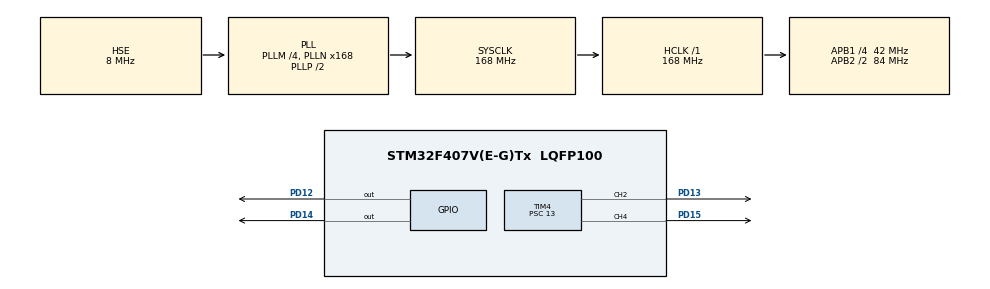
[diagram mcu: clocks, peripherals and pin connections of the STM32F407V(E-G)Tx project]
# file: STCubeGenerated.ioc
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Mcu.Family=STM32F4
Mcu.Name=STM32F407V(E-G)Tx
Mcu.Package=LQFP100
NVIC.PriorityGroup=NVIC_PRIORITYGROUP_4
PD12.Signal=GPIO_Output
PD13.Signal=S_TIM4_CH2
PD14.Signal=GPIO_Output
PD15.Signal=S_TIM4_CH4
PH0-OSC_IN.Mode=HSE-External-Oscillator
PH0-OSC_IN.Signal=RCC_OSC_IN
PH1-OSC_OUT.Mode=HSE-External-Oscillator
PH1-OSC_OUT.Signal=RCC_OSC_OUT
ProjectManager.HeapSize=0x200
ProjectManager.StackSize=0x400
ProjectManager.TargetToolchain=MDK-ARM V5
RCC.48MHZClocksFreq_Value=84000000
RCC.AHBFreq_Value=168000000
RCC.APB1CLKDivider=RCC_HCLK_DIV4
RCC.APB1Freq_Value=42000000
RCC.APB1TimFreq_Value=84000000
RCC.APB2CLKDivider=RCC_HCLK_DIV2
RCC.APB2Freq_Value=84000000
RCC.APB2TimFreq_Value=168000000
RCC.CortexFreq_Value=168000000
RCC.HCLKFreq_Value=168000000
RCC.HSE_VALUE=8000000
RCC.HSI_VALUE=16000000
RCC.LSE_VALUE=32768
RCC.PLLM=4
RCC.PLLN=168
RCC.PLLSourceVirtual=RCC_PLLSOURCE_HSE
RCC.SYSCLKFreq_VALUE=168000000
RCC.SYSCLKSource=RCC_SYSCLKSOURCE_PLLCLK
RCC.VCOOutputFreq_Value=336000000
SH.S_TIM4_CH2.0=TIM4_CH2,PWM Generation2 CH2
SH.S_TIM4_CH4.0=TIM4_CH4,PWM Generation4 CH4
TIM4.Channel-PWM\ Generation2\ CH2=TIM_CHANNEL_2
TIM4.Channel-PWM\ Generation4\ CH4=TIM_CHANNEL_4
TIM4.Period=1199
TIM4.Prescaler=13
VP_TIM4_VS_ClockSourceINT.Mode=Internal
board=custom

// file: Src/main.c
/* USER CODE BEGIN Header */
/**
  ******************************************************************************
  * @file           : main.c
  * @brief          : Main program body
  ******************************************************************************
  * @attention
  *
  * Copyright (c) 2023 STMicroelectronics.
  * All rights reserved.
  *
  * This software is licensed under terms that can be found in the LICENSE file
  * in the root directory of this software component.
  * If no LICENSE file comes with this software, it is provided AS-IS.
  *
  ******************************************************************************
  */
/* USER CODE END Header */
#include "main.h"

TIM_HandleTypeDef htim4;

void SystemClock_Config(void);
static void MX_GPIO_Init(void);
static void MX_TIM4_Init(void);

int main(void)
{

  /* MCU Configuration--------------------------------------------------------*/

  /* Reset of all peripherals, Initializes the Flash interface and the Systick. */
  HAL_Init();

  /* Configure the system clock */
  SystemClock_Config();

  /* Initialize all configured peripherals */
  MX_GPIO_Init();
  MX_TIM4_Init();

  /* Infinite loop */
  /* USER CODE BEGIN WHILE */

	TIM_OC_InitTypeDef sConfigOC;
	sConfigOC.OCMode = TIM_OCMODE_PWM1;
	sConfigOC.OCPolarity = TIM_OCPOLARITY_HIGH;
  sConfigOC.OCFastMode = TIM_OCFAST_DISABLE;
	// timer 4 channel 2
	//TIM4->CCR2 = 500;

	int pulse_channel1=0;
	int pulse_channel2=1199;
	int direction=0;

	while (1)
  {

		for (int i=0; i<=111; i++)
		{
			if (direction==0)
			{
				pulse_channel1=pulse_channel1+10;
				pulse_channel2=pulse_channel2-10;
			} else {
				pulse_channel1=pulse_channel1-10;
				pulse_channel2=pulse_channel2+10;
			}

			if (i==111)
				direction=~direction;

			{
				HAL_TIM_PWM_Stop(&htim4, TIM_CHANNEL_2); // stop generation of pwm
				HAL_TIM_PWM_Stop(&htim4, TIM_CHANNEL_4); // stop generation of pwm

				sConfigOC.Pulse = pulse_channel1;
				HAL_TIM_PWM_ConfigChannel(&htim4, &sConfigOC, TIM_CHANNEL_2);

				sConfigOC.Pulse = pulse_channel2;
				HAL_TIM_PWM_ConfigChannel(&htim4, &sConfigOC, TIM_CHANNEL_4);

				HAL_TIM_PWM_Start(&htim4, TIM_CHANNEL_2); // start pwm generation
				HAL_TIM_PWM_Start(&htim4, TIM_CHANNEL_4); // start pwm generation
			}

			HAL_Delay(10);

		}

    /* USER CODE END WHILE */

  }
}

void SystemClock_Config(void)
{
  RCC_OscInitTypeDef RCC_OscInitStruct = {0};
  RCC_ClkInitTypeDef RCC_ClkInitStruct = {0};

  /** Configure the main internal regulator output voltage
  */
  __HAL_RCC_PWR_CLK_ENABLE();
  __HAL_PWR_VOLTAGESCALING_CONFIG(PWR_REGULATOR_VOLTAGE_SCALE1);

  /** Initializes the RCC Oscillators according to the specified parameters
  * in the RCC_OscInitTypeDef structure.
  */
  RCC_OscInitStruct.OscillatorType = RCC_OSCILLATORTYPE_HSE;
  RCC_OscInitStruct.HSEState = RCC_HSE_ON;
  RCC_OscInitStruct.PLL.PLLState = RCC_PLL_ON;
  RCC_OscInitStruct.PLL.PLLSource = RCC_PLLSOURCE_HSE;
  RCC_OscInitStruct.PLL.PLLM = 4;
  RCC_OscInitStruct.PLL.PLLN = 168;
  RCC_OscInitStruct.PLL.PLLP = RCC_PLLP_DIV2;
  RCC_OscInitStruct.PLL.PLLQ = 4;
  if (HAL_RCC_OscConfig(&RCC_OscInitStruct) != HAL_OK)
  {
    Error_Handler();
  }

  /** Initializes the CPU, AHB and APB buses clocks
  */
  RCC_ClkInitStruct.ClockType = RCC_CLOCKTYPE_HCLK|RCC_CLOCKTYPE_SYSCLK
                              |RCC_CLOCKTYPE_PCLK1|RCC_CLOCKTYPE_PCLK2;
  RCC_ClkInitStruct.SYSCLKSource = RCC_SYSCLKSOURCE_PLLCLK;
  RCC_ClkInitStruct.AHBCLKDivider = RCC_SYSCLK_DIV1;
  RCC_ClkInitStruct.APB1CLKDivider = RCC_HCLK_DIV4;
  RCC_ClkInitStruct.APB2CLKDivider = RCC_HCLK_DIV2;

  if (HAL_RCC_ClockConfig(&RCC_ClkInitStruct, FLASH_LATENCY_5) != HAL_OK)
  {
    Error_Handler();
  }
}

static void MX_TIM4_Init(void)
{

  TIM_ClockConfigTypeDef sClockSourceConfig = {0};
  TIM_MasterConfigTypeDef sMasterConfig = {0};
  TIM_OC_InitTypeDef sConfigOC = {0};

  htim4.Instance = TIM4;
  htim4.Init.Prescaler = 13;
  htim4.Init.CounterMode = TIM_COUNTERMODE_UP;
  htim4.Init.Period = 1199;
  htim4.Init.ClockDivision = TIM_CLOCKDIVISION_DIV1;
  htim4.Init.AutoReloadPreload = TIM_AUTORELOAD_PRELOAD_DISABLE;
  if (HAL_TIM_Base_Init(&htim4) != HAL_OK)
  {
    Error_Handler();
  }
  sClockSourceConfig.ClockSource = TIM_CLOCKSOURCE_INTERNAL;
  if (HAL_TIM_ConfigClockSource(&htim4, &sClockSourceConfig) != HAL_OK)
  {
    Error_Handler();
  }
  if (HAL_TIM_PWM_Init(&htim4) != HAL_OK)
  {
    Error_Handler();
  }
  sMasterConfig.MasterOutputTrigger = TIM_TRGO_RESET;
  sMasterConfig.MasterSlaveMode = TIM_MASTERSLAVEMODE_DISABLE;
  if (HAL_TIMEx_MasterConfigSynchronization(&htim4, &sMasterConfig) != HAL_OK)
  {
    Error_Handler();
  }
  sConfigOC.OCMode = TIM_OCMODE_PWM1;
  sConfigOC.Pulse = 0;
  sConfigOC.OCPolarity = TIM_OCPOLARITY_HIGH;
  sConfigOC.OCFastMode = TIM_OCFAST_DISABLE;
  if (HAL_TIM_PWM_ConfigChannel(&htim4, &sConfigOC, TIM_CHANNEL_2) != HAL_OK)
  {
    Error_Handler();
  }
  if (HAL_TIM_PWM_ConfigChannel(&htim4, &sConfigOC, TIM_CHANNEL_4) != HAL_OK)
  {
    Error_Handler();
  }
  HAL_TIM_MspPostInit(&htim4);

}

static void MX_GPIO_Init(void)
{
  GPIO_InitTypeDef GPIO_InitStruct = {0};

  /* GPIO Ports Clock Enable */
  __HAL_RCC_GPIOH_CLK_ENABLE();
  __HAL_RCC_GPIOD_CLK_ENABLE();

  /*Configure GPIO pin Output Level */
  HAL_GPIO_WritePin(GPIOD, GPIO_PIN_12|GPIO_PIN_14, GPIO_PIN_RESET);

  /*Configure GPIO pins : PD12 PD14 */
  GPIO_InitStruct.Pin = GPIO_PIN_12|GPIO_PIN_14;
  GPIO_InitStruct.Mode = GPIO_MODE_OUTPUT_PP;
  GPIO_InitStruct.Pull = GPIO_NOPULL;
  GPIO_InitStruct.Speed = GPIO_SPEED_FREQ_LOW;
  HAL_GPIO_Init(GPIOD, &GPIO_InitStruct);

}

void Error_Handler(void)
{
  __disable_irq();
  while (1)
  {
  }
}
